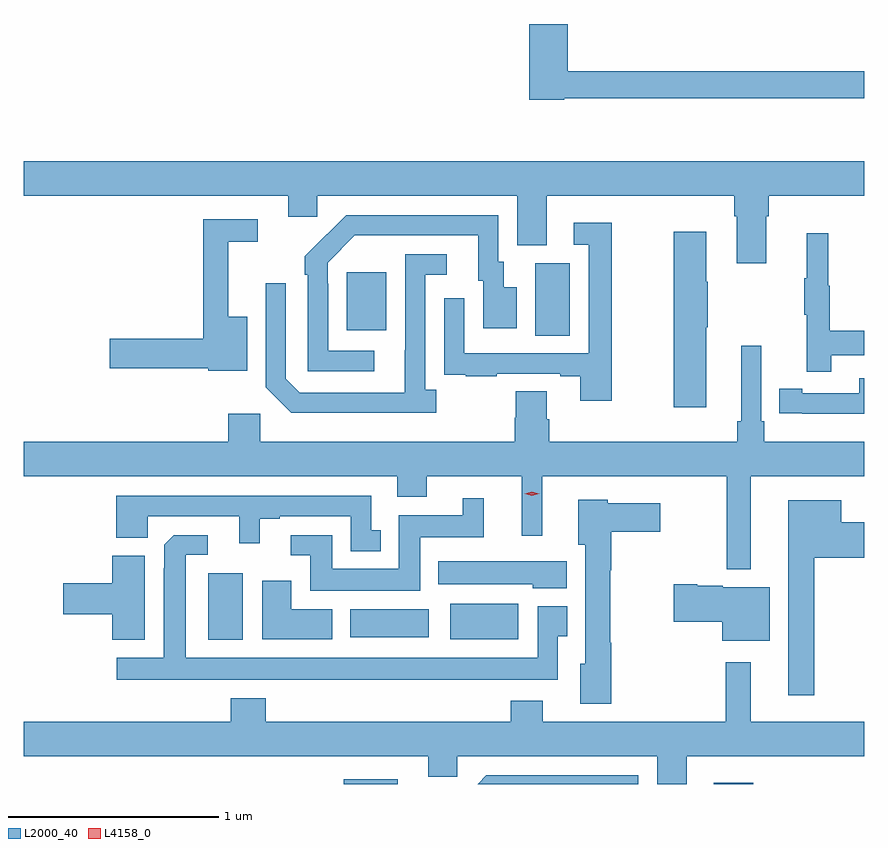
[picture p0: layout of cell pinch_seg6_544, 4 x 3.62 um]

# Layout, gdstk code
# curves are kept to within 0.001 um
import gdstk
lib = gdstk.Library(unit=1e-6, precision=1e-09)
def R(c, l, rs):  # rectangles x0, y0, x1, y1
    for r in rs: c.add(gdstk.rectangle(r[:2], r[2:], *l))
def P(c, l, *ps):  # polygons
    for p in ps: c.add(gdstk.Polygon(p, *l))
L2000_40 = (2000, 40)
L4158_0 = (4158, 0)

pinch_seg6_544 = lib.new_cell('pinch_seg6_544')
R(pinch_seg6_544, L2000_40, [(565.603,981.835,565.861,981.858), (567.363,981.835,567.551,981.841), (564.959,982.52,565.123,982.837), (566.111,982.523,566.434,982.693), (565.634,982.532,566.008,982.666), (566.516,983.968,566.68,984.312), (565.619,983.993,565.807,984.268)])
P(pinch_seg6_544, L2000_40, [(566.652,985.098),(568.081,985.098),(568.081,985.226),(566.669,985.226),(566.669,985.45),(566.486,985.45),(566.486,985.09),(566.652,985.09)],
  [(567.613,984.536),(567.626,984.536),(567.626,984.632),(568.081,984.632),(568.081,984.796),(564.081,984.796),(564.081,984.632),(565.34,984.632),(565.34,984.534),(565.479,984.534),(565.479,984.632),(566.429,984.632),(566.429,984.397),(566.569,984.397),(566.569,984.632),(567.461,984.632),(567.461,984.536),(567.473,984.536),(567.473,984.312),(567.613,984.312)],
  [(565.75,983.895),(565.53,983.895),(565.53,984.215),(565.527,984.215),(565.527,984.315),(565.656,984.444),(566.243,984.444),(566.243,984.228),(566.267,984.228),(566.267,984.003),(566.428,984.003),(566.428,984.199),(566.365,984.199),(566.365,984.318),(566.34,984.318),(566.34,984.54),(565.616,984.54),(565.419,984.345),(565.419,984.257),(565.434,984.257),(565.434,983.799),(565.75,983.799)],
  [(565.144,984.058),(565.055,984.058),(565.055,984.414),(565.195,984.414),(565.195,984.522),(564.937,984.522),(564.937,983.954),(564.492,983.954),(564.492,983.812),(564.96,983.812),(564.96,983.801),(565.144,983.801)],
  [(566.878,984.505),(566.697,984.505),(566.697,984.399),(566.769,984.399),(566.769,983.883),(566.178,983.883),(566.178,984.145),(566.082,984.145),(566.082,983.89),(566.083,983.89),(566.083,983.781),(566.185,983.781),(566.185,983.775),(566.333,983.775),(566.333,983.787),(566.633,983.787),(566.633,983.775),(566.729,983.775),(566.729,983.658),(566.878,983.658)],
  [(567.328,984.007),(567.336,984.007),(567.336,984.224),(567.328,984.224),(567.328,984.463),(567.175,984.463),(567.175,983.628),(567.328,983.628)],
  [(567.923,983.874),(568.081,983.874),(568.081,983.99),(567.916,983.99),(567.916,984.204),(567.908,984.204),(567.908,984.454),(567.806,984.454),(567.806,984.241),(567.795,984.241),(567.795,984.067),(567.806,984.067),(567.806,983.796),(567.923,983.796)],
  [(566.044,983.71),(565.992,983.71),(565.992,984.258),(566.095,984.258),(566.095,984.354),(565.896,984.354),(565.895,983.697),(565.395,983.697),(565.329,983.763),(565.329,984.217),(565.233,984.217),(565.233,983.721),(565.354,983.6),(566.044,983.6)],
  [(567.541,983.3),(568.081,983.3),(568.081,983.464),(567.605,983.464),(567.605,983.56),(567.591,983.56),(567.591,983.92),(567.494,983.92),(567.494,983.56),(567.475,983.56),(567.475,983.464),(566.582,983.464),(566.582,983.57),(566.569,983.57),(566.569,983.702),(566.422,983.702),(566.422,983.577),(566.417,983.577),(566.417,983.464),(565.206,983.464),(565.206,983.596),(565.055,983.596),(565.055,983.464),(564.081,983.464),(564.081,983.3),(565.859,983.3),(565.859,983.201),(565.999,983.201),(565.999,983.3),(566.45,983.3),(566.45,983.016),(566.548,983.016),(566.548,983.3),(567.427,983.3),(567.427,982.856),(567.541,982.856)],
  [(568.081,983.766),(568.056,983.766),(568.056,983.694),(567.784,983.694),(567.784,983.714),(567.676,983.714),(567.676,983.598),(567.784,983.598),(567.784,983.597),(568.081,983.597)],
  [(565.78,983.043),(565.734,983.043),(565.734,983.205),(564.521,983.205),(564.521,983.006),(564.672,983.006),(564.672,983.109),(565.106,983.109),(565.106,982.98),(565.204,982.98),(565.204,983.097),(565.3,983.097),(565.3,983.109),(565.638,983.109),(565.638,982.943),(565.78,982.943)],
  [(565.969,983.009),(566.27,983.009),(566.27,983.194),(566.171,983.194),(566.171,983.113),(565.865,983.113),(565.865,982.858),(565.549,982.858),(565.549,983.019),(565.353,983.019),(565.353,982.923),(565.445,982.923),(565.445,982.754),(565.969,982.754)],
  [(566.876,982.507),(566.871,982.507),(566.871,982.852),(566.876,982.852),(566.876,983.036),(567.109,983.036),(567.109,983.17),(566.859,983.17),(566.859,983.188),(566.72,983.188),(566.72,982.974),(566.753,982.974),(566.753,982.407),(566.729,982.407),(566.729,982.217),(566.876,982.217)],
  [(567.841,982.91),(568.081,982.91),(568.081,983.08),(567.97,983.08),(567.97,983.185),(567.719,983.185),(567.719,982.257),(567.841,982.257)],
  [(566.623,982.537),(566.668,982.537),(566.668,982.681),(566.526,982.681),(566.526,982.435),(564.853,982.435),(564.853,982.926),(564.958,982.926),(564.958,983.019),(564.796,983.019),(564.75,982.973),(564.749,982.435),(564.525,982.435),(564.525,982.331),(566.623,982.331)],
  [(564.658,982.921),(564.503,982.921),(564.503,982.79),(564.27,982.79),(564.27,982.643),(564.503,982.643),(564.503,982.52),(564.658,982.52)],
  [(566.665,982.894),(566.054,982.894),(566.054,982.784),(566.502,982.784),(566.502,982.766),(566.665,982.766)],
  [(565.549,982.666),(565.354,982.666),(565.354,982.801),(565.217,982.801),(565.217,982.523),(565.549,982.523)],
  [(567.631,982.771),(567.408,982.771),(567.408,982.777),(567.286,982.777),(567.286,982.784),(567.174,982.784),(567.174,982.606),(567.404,982.606),(567.404,982.517),(567.631,982.517)],
  [(567.235,981.968),(568.081,981.968),(568.081,982.132),(567.541,982.132),(567.541,982.414),(567.42,982.414),(567.42,982.132),(566.551,982.132),(566.551,982.231),(566.399,982.231),(566.399,982.132),(565.232,982.132),(565.232,982.243),(565.067,982.243),(565.067,982.132),(564.081,982.132),(564.081,981.968),(566.006,981.968),(566.006,981.87),(566.145,981.87),(566.145,981.968),(567.095,981.968),(567.095,981.835),(567.235,981.835)],
  [(567.006,981.876),(566.282,981.876),(566.241,981.835),(567.006,981.835)])
P(pinch_seg6_544, L4158_0, [(566.499,983.206),(566.464,983.216),(566.464,983.216),(566.464,983.216),(566.499,983.226),(566.534,983.216),(566.534,983.216),(566.534,983.216)])

lib.write_gds('pinch_seg6_544.gds')
